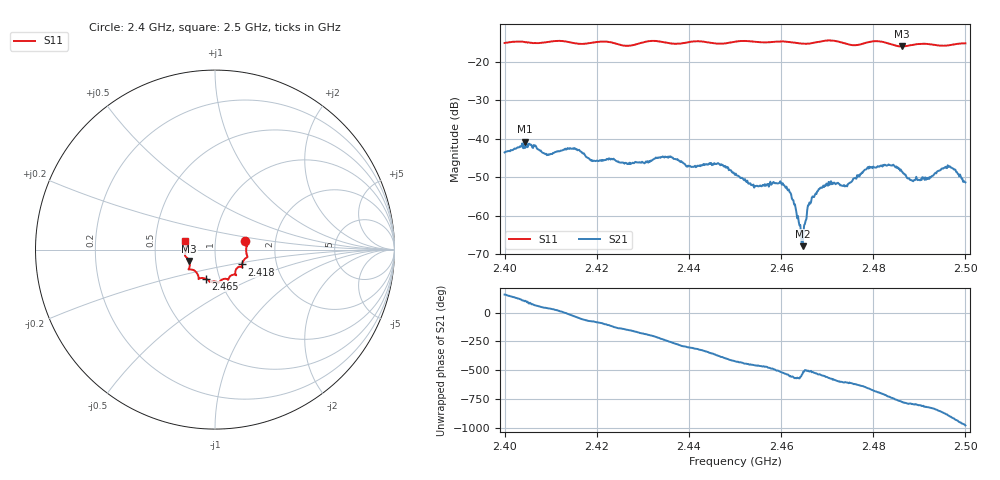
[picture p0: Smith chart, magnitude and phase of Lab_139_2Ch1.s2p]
# Hz S RI R 50
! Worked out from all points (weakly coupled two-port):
!   601 points, 2.4 GHz to 2.5 GHz, reference 50 ohm
!   highest |S21| = -40.82 dB at 2.4043 GHz (marker M1); lowest = -67.9 dB at 2.4647 GHz (marker M2)
!   lowest |S11| = -16.1 dB at 2.4862 GHz (marker M3), VSWR 1.37, Z = 37.2 - j4.86 ohm
!   |S11| at or under -10 dB: start of sweep to end of sweep
!   S12 and S22 are empty: the file has one direction only
!   S11 on the Smith chart (normalised r, x): 2.4 GHz: 1.40, +0.14; 2.418 GHz: 1.33, -0.23; 2.465 GHz: 0.86, -0.29; 2.5 GHz: 0.71, +0.07
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2.4e9  0.1678 0.0472  -0.00611 0.00255  0 0  0 0
2.404333e9  0.1781 0.0252  -0.00147 0.00898  0 0  0 0
2.409333e9  0.1771 -0.029  0.00486 0.00387  0 0  0 0
2.416667e9  0.1553 -0.0681  0.00392 -0.00547  0 0  0 0
2.418e9  0.1504 -0.083  0.00189 -0.00531  0 0  0 0
2.433333e9  0.1171 -0.1412  -0.0044 0.00347  0 0  0 0
2.446667e9  0.0478 -0.1638  0.00438 -0.0015  0 0  0 0
2.45e9  0.0259 -0.1795  0.00157 -0.003  0 0  0 0
2.454e9  0.0139 -0.1811  -0.000204 -0.00252  0 0  0 0
2.460333e9  -0.0275 -0.1805  -0.00251 -0.000812  0 0  0 0
2.462167e9  -0.0326 -0.1756  -0.00182 0.000555  0 0  0 0
2.464667e9  -0.0493 -0.1635  -0.000394 -7.28e-05  0 0  0 0
2.465e9  -0.0526 -0.1621  -0.000659 -0.000351  0 0  0 0
2.466667e9  -0.0709 -0.158  -0.00158 -0.000642  0 0  0 0
2.470333e9  -0.0911 -0.1644  -0.00243 0.00126  0 0  0 0
2.474e9  -0.0949 -0.142  -0.00106 0.00218  0 0  0 0
2.478667e9  -0.1384 -0.1105  0.00167 0.00376  0 0  0 0
2.483333e9  -0.1418 -0.0968  0.00457 -0.000702  0 0  0 0
2.486167e9  -0.1435 -0.0637  0.00216 -0.00307  0 0  0 0
2.49e9  -0.1657 -0.0365  0.000358 -0.00289  0 0  0 0
2.496667e9  -0.1621 0.0226  -0.00434 0.000152  0 0  0 0
2.5e9  -0.1659 0.0473  -0.000475 0.00266  0 0  0 0
